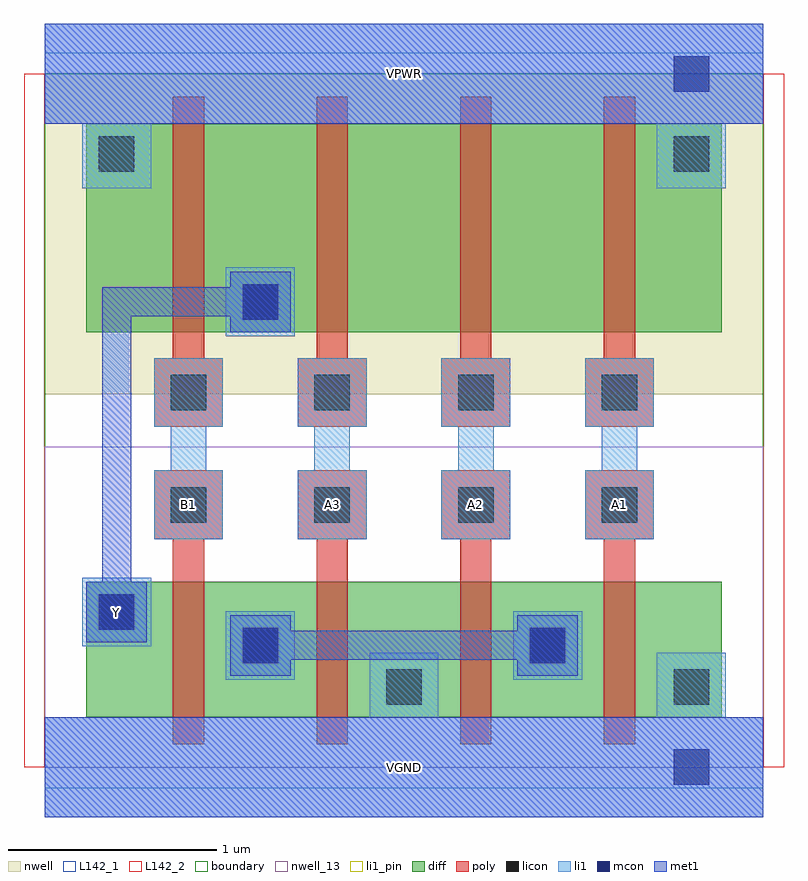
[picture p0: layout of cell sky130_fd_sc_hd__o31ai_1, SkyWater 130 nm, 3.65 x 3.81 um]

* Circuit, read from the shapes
.subckt sky130_fd_sc_hd__o31ai_1 A1 A2 A3 B1 VGND VPWR Y
XM1 n1 B1 Y VSUBS sky130_fd_pr__nfet_01v8 w=0.65 l=0.15
XM2 VGND A3 n1 VSUBS sky130_fd_pr__nfet_01v8 w=0.65 l=0.15
XM3 n1 A2 VGND VSUBS sky130_fd_pr__nfet_01v8 w=0.65 l=0.15
XM4 VGND A1 n1 VSUBS sky130_fd_pr__nfet_01v8 w=0.65 l=0.15
XM5 Y B1 VPWR n2 sky130_fd_pr__pfet_01v8 w=1 l=0.15
XM6 n3 A3 Y n2 sky130_fd_pr__pfet_01v8 w=1 l=0.15
XM7 n4 A2 n3 n2 sky130_fd_pr__pfet_01v8 w=1 l=0.15
XM8 VPWR A1 n4 n2 sky130_fd_pr__pfet_01v8 w=1 l=0.15
.ends

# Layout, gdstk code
import gdstk
lib = gdstk.Library(unit=1e-6, precision=1e-09)
def R(c, l, rs):  # rectangles x0, y0, x1, y1
    for r in rs: c.add(gdstk.rectangle(r[:2], r[2:], *l))
def A(c, l, x, y, w, h, nx, ny, dx, dy):  # array of equal rectangles
    R(c, l, [(x+i*dx, y+j*dy, x+i*dx+w, y+j*dy+h) for i in range(nx) for j in range(ny)])
def P(c, l, *ps):  # polygons
    for p in ps: c.add(gdstk.Polygon(p, *l))
nwell_13 = (64, 13)
nwell = (64, 20)
diff = (65, 20)
poly = (66, 20)
licon = (66, 44)
li1_pin = (67, 16)
li1 = (67, 20)
mcon = (67, 44)
met1 = (68, 20)
L142_1 = (142, 1)
L142_2 = (142, 2)
boundary = (235, 4)

sky130_fd_sc_hd__o31ai_1 = lib.new_cell('sky130_fd_sc_hd__o31ai_1')
R(sky130_fd_sc_hd__o31ai_1, nwell_13, [(0,0,3.45,1.54)])
R(sky130_fd_sc_hd__o31ai_1, nwell, [(0,1.79,3.45,3.33)])
A(sky130_fd_sc_hd__o31ai_1, diff, 0.615, 0.24, 0.69, 0.65, 3, 1, 0.69, 0)
A(sky130_fd_sc_hd__o31ai_1, diff, 0.615, 2.09, 0.69, 1, 3, 1, 0.69, 0)
R(sky130_fd_sc_hd__o31ai_1, diff, [(0.2,0.24,3.25,0.89), (0.2,0.24,0.615,0.89), (2.685,0.24,3.25,0.89), (0.2,2.09,3.25,3.09), (0.2,2.09,0.615,3.09), (2.685,2.09,3.25,3.09)])
P(sky130_fd_sc_hd__o31ai_1, poly, [(1.995,0.11),(1.995,1.095),(1.905,1.095),(1.905,1.425),(2.235,1.425),(2.235,1.095),(2.145,1.095),(2.145,0.11)],
  [(1.905,1.635),(1.905,1.965),(1.995,1.965),(1.995,3.22),(2.145,3.22),(2.145,1.965),(2.235,1.965),(2.235,1.635)],
  [(2.685,0.11),(2.685,1.095),(2.595,1.095),(2.595,1.425),(2.925,1.425),(2.925,1.095),(2.835,1.095),(2.835,0.11)],
  [(2.595,1.635),(2.595,1.965),(2.685,1.965),(2.685,3.22),(2.835,3.22),(2.835,1.965),(2.925,1.965),(2.925,1.635)],
  [(1.305,0.11),(1.305,1.095),(1.215,1.095),(1.215,1.425),(1.545,1.425),(1.545,1.095),(1.455,1.095),(1.455,0.11)],
  [(1.215,1.635),(1.215,1.965),(1.305,1.965),(1.305,3.22),(1.455,3.22),(1.455,1.965),(1.545,1.965),(1.545,1.635)],
  [(0.615,0.11),(0.615,1.095),(0.525,1.095),(0.525,1.425),(0.855,1.425),(0.855,1.095),(0.765,1.095),(0.765,0.11)],
  [(0.525,1.635),(0.525,1.965),(0.615,1.965),(0.615,3.22),(0.765,3.22),(0.765,1.965),(0.855,1.965),(0.855,1.635)])
A(sky130_fd_sc_hd__o31ai_1, licon, 0.605, 1.175, 0.17, 0.17, 4, 2, 0.69, 0.54)
R(sky130_fd_sc_hd__o31ai_1, licon, [(1.64,0.3,1.81,0.47), (3.02,0.3,3.19,0.47), (0.95,0.5,1.12,0.67), (2.33,0.5,2.5,0.67), (0.26,0.66,0.43,0.83), (0.95,2.15,1.12,2.32), (0.26,2.86,0.43,3.03), (3.02,2.86,3.19,3.03)])
R(sky130_fd_sc_hd__o31ai_1, li1_pin, [(0,-0.24,3.45,0.24), (0.18,0.58,0.51,0.91), (0,3.09,3.45,3.57)])
P(sky130_fd_sc_hd__o31ai_1, li1_pin, [(2.595,1.095),(2.595,1.425),(2.675,1.425),(2.675,1.635),(2.595,1.635),(2.595,1.965),(2.925,1.965),(2.925,1.635),(2.845,1.635),(2.845,1.425),(2.925,1.425),(2.925,1.095)],
  [(0.525,1.095),(0.525,1.425),(0.605,1.425),(0.605,1.635),(0.525,1.635),(0.525,1.965),(0.855,1.965),(0.855,1.635),(0.775,1.635),(0.775,1.425),(0.855,1.425),(0.855,1.095)],
  [(1.905,1.095),(1.905,1.425),(1.985,1.425),(1.985,1.635),(1.905,1.635),(1.905,1.965),(2.235,1.965),(2.235,1.635),(2.155,1.635),(2.155,1.425),(2.235,1.425),(2.235,1.095)],
  [(1.215,1.095),(1.215,1.425),(1.295,1.425),(1.295,1.635),(1.215,1.635),(1.215,1.965),(1.545,1.965),(1.545,1.635),(1.465,1.635),(1.465,1.425),(1.545,1.425),(1.545,1.095)])
R(sky130_fd_sc_hd__o31ai_1, li1, [(0.87,0.42,1.2,0.75), (2.25,0.42,2.58,0.75), (0.18,0.58,0.51,0.91), (0.87,2.07,1.2,2.4)])
P(sky130_fd_sc_hd__o31ai_1, li1, [(1.905,1.095),(1.905,1.425),(1.985,1.425),(1.985,1.635),(1.905,1.635),(1.905,1.965),(2.235,1.965),(2.235,1.635),(2.155,1.635),(2.155,1.425),(2.235,1.425),(2.235,1.095)],
  [(0.18,2.78),(0.18,3.09),(0,3.09),(0,3.57),(3.45,3.57),(3.45,3.09),(3.27,3.09),(3.27,2.78),(2.94,2.78),(2.94,3.09),(0.51,3.09),(0.51,2.78)],
  [(2.595,1.095),(2.595,1.425),(2.675,1.425),(2.675,1.635),(2.595,1.635),(2.595,1.965),(2.925,1.965),(2.925,1.635),(2.845,1.635),(2.845,1.425),(2.925,1.425),(2.925,1.095)],
  [(0,-0.24),(0,0.24),(1.56,0.24),(1.56,0.55),(1.89,0.55),(1.89,0.24),(2.94,0.24),(2.94,0.55),(3.27,0.55),(3.27,0.24),(3.45,0.24),(3.45,-0.24)],
  [(1.215,1.095),(1.215,1.425),(1.295,1.425),(1.295,1.635),(1.215,1.635),(1.215,1.965),(1.545,1.965),(1.545,1.635),(1.465,1.635),(1.465,1.425),(1.545,1.425),(1.545,1.095)],
  [(0.525,1.095),(0.525,1.425),(0.605,1.425),(0.605,1.635),(0.525,1.635),(0.525,1.965),(0.855,1.965),(0.855,1.635),(0.775,1.635),(0.775,1.425),(0.855,1.425),(0.855,1.095)])
R(sky130_fd_sc_hd__o31ai_1, mcon, [(3.02,-0.085,3.19,0.085), (0.95,0.5,1.12,0.67), (2.33,0.5,2.5,0.67), (0.26,0.66,0.43,0.83), (0.95,2.15,1.12,2.32), (3.02,3.245,3.19,3.415)])
R(sky130_fd_sc_hd__o31ai_1, met1, [(0,-0.24,3.45,0.24), (0,3.09,3.45,3.57)])
P(sky130_fd_sc_hd__o31ai_1, met1, [(0.2,0.6),(0.2,0.89),(0.275,0.89),(0.275,2.305),(0.89,2.305),(0.89,2.38),(1.18,2.38),(1.18,2.09),(0.89,2.09),(0.89,2.165),(0.415,2.165),(0.415,0.89),(0.49,0.89),(0.49,0.6)],
  [(0.89,0.44),(0.89,0.73),(1.18,0.73),(1.18,0.655),(2.27,0.655),(2.27,0.73),(2.56,0.73),(2.56,0.44),(2.27,0.44),(2.27,0.515),(1.18,0.515),(1.18,0.44)])
R(sky130_fd_sc_hd__o31ai_1, L142_1, [(0,-0.1,3.45,0), (0,3.33,3.45,3.43)])
R(sky130_fd_sc_hd__o31ai_1, L142_2, [(-0.1,0,0,3.33), (3.45,0,3.55,3.33)])
R(sky130_fd_sc_hd__o31ai_1, boundary, [(0,0,3.45,3.33)])
sky130_fd_sc_hd__o31ai_1.add(gdstk.Label('Y', (0.345,0.745), layer=67, texttype=5))
sky130_fd_sc_hd__o31ai_1.add(gdstk.Label('A1', (2.76,1.26), layer=67, texttype=5))
sky130_fd_sc_hd__o31ai_1.add(gdstk.Label('B1', (0.69,1.26), layer=67, texttype=5))
sky130_fd_sc_hd__o31ai_1.add(gdstk.Label('A2', (2.07,1.26), layer=67, texttype=5))
sky130_fd_sc_hd__o31ai_1.add(gdstk.Label('A3', (1.38,1.26), layer=67, texttype=5))
sky130_fd_sc_hd__o31ai_1.add(gdstk.Label('VGND', (1.725,0), layer=67, texttype=5))
sky130_fd_sc_hd__o31ai_1.add(gdstk.Label('VPWR', (1.725,3.33), layer=67, texttype=5))
sky130_fd_sc_hd__o31ai_1.add(gdstk.Label('VGND', (1.725,0), layer=68, texttype=5))
sky130_fd_sc_hd__o31ai_1.add(gdstk.Label('VPWR', (1.725,3.33), layer=68, texttype=5))

lib.write_gds('sky130_fd_sc_hd__o31ai_1.gds')
